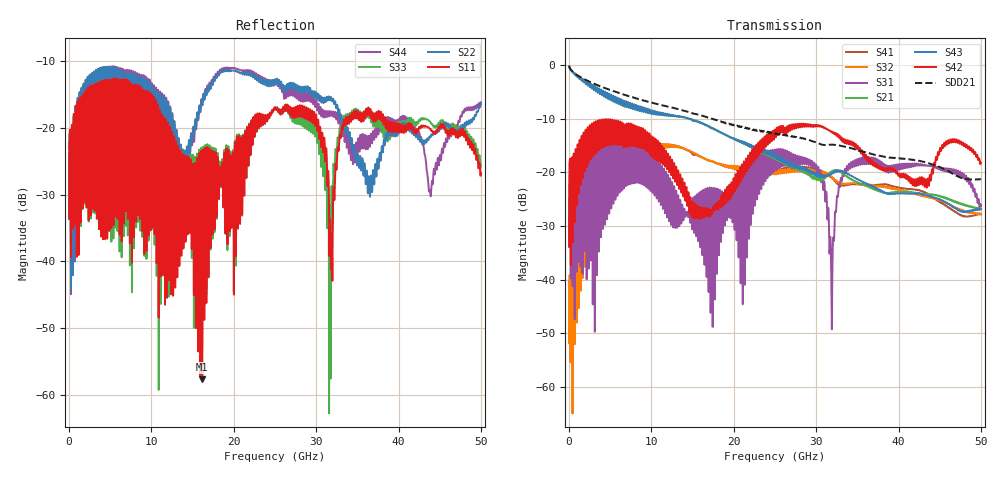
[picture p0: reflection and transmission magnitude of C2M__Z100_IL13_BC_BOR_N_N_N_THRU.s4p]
# GHz S MA R 50
! S-Parameters data
! Freq  magS11  angS11  magS12  angS12  magS13  angS13  magS14  angS14
!  magS21  angS21  magS22  angS22  magS23  angS23  magS24  angS24
!  magS31  angS31  magS32  angS32  magS33  angS33  magS34  angS34
!  magS41  angS41  magS42  angS42  magS43  angS43  magS44  angS44
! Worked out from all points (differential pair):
!   5000 points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, 10 MHz to 50 GHz, reference 50 ohm
!   strongest paths, dB at 10 MHz, 12.51 GHz, 25.01 GHz, 37.51 GHz, 50 GHz:
!     S42: -33.8, -17.6, -12.1, -18.8, -18.2
!     S43: -0.2, -9.5, -17.3, -23.1, -26.9
!     S21: -0.2, -9.5, -17.6, -23.4, -26.7
!     S31: -33.8, -21.8, -16.5, -18.1, -26.3
!     S32: -51.8, -15.2, -19.6, -22.5, -27.7
!     S41: -51.8, -15.2, -19.4, -22.3, -27.8
!   taken as a pair (ports 3,1 in; 4,2 out), SDD21 dB: -0.2, -7.9, -12.8, -16.8, -21.3
!   lowest |S11| = -57.7 dB at 16.17 GHz (marker M1), VSWR 1.00, Z = 50 - j0.12 ohm
!   |S11| at or under -10 dB: start of sweep to end of sweep
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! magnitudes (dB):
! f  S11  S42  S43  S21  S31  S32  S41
! 10 MHz  -33.6  -33.8  -0.2  -0.2  -33.8  -51.8  -51.8
! 4.49 GHz  -13.0  -10.1  -6.0  -6.0  -11.9  -19.1  -19.1
! 16.17 GHz  -57.7  -27.9  -10.8  -10.8  -30.7  -17.2  -17.2
! 27.45 GHz  -17.7  -11.0  -18.8  -19.1  -16.7  -19.8  -19.3
! 31.8 GHz  -41.2  -12.4  -20.3  -19.9  -35.8  -20.7  -20.9
! 34.62 GHz  -17.5  -14.8  -21.0  -21.6  -18.9  -22.0  -22.1
! 50 GHz  -26.7  -18.2  -26.9  -26.7  -26.3  -27.7  -27.8
